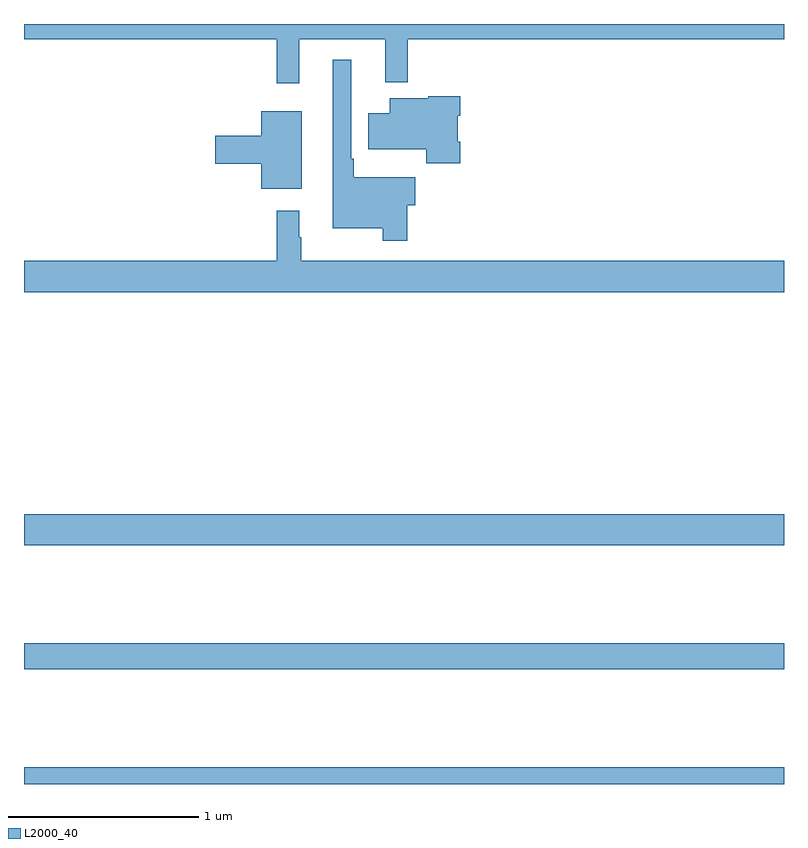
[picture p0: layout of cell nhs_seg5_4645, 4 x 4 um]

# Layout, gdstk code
import gdstk
lib = gdstk.Library(unit=1e-6, precision=1e-09)
def R(c, l, rs):  # rectangles x0, y0, x1, y1
    for r in rs: c.add(gdstk.rectangle(r[:2], r[2:], *l))
def P(c, l, *ps):  # polygons
    for p in ps: c.add(gdstk.Polygon(p, *l))
L2000_40 = (2000, 40)

nhs_seg5_4645 = lib.new_cell('nhs_seg5_4645')
R(nhs_seg5_4645, L2000_40, [(383,892.799,387,892.888), (383,893.404,387,893.54), (383,894.056,387,894.22)])
P(nhs_seg5_4645, L2000_40, [(384.449,896.72),(384.902,896.72),(384.902,896.492),(385.019,896.492),(385.019,896.72),(387,896.72),(387,896.799),(383,896.799),(383,896.72),(384.331,896.72),(384.331,896.487),(384.449,896.487)],
  [(385.016,895.846),(385.06,895.846),(385.06,895.993),(384.736,895.993),(384.736,896.089),(384.723,896.089),(384.723,896.611),(384.626,896.611),(384.626,895.724),(384.888,895.724),(384.888,895.659),(385.016,895.659)],
  [(385.295,896.179),(385.282,896.179),(385.282,896.315),(385.295,896.315),(385.295,896.419),(385.128,896.419),(385.128,896.407),(384.926,896.407),(384.926,896.329),(384.812,896.329),(384.812,896.141),(385.117,896.141),(385.117,896.067),(385.295,896.067)],
  [(384.463,896.341),(384.248,896.341),(384.248,896.21),(384.006,896.21),(384.006,896.063),(384.248,896.063),(384.248,895.931),(384.463,895.931)],
  [(387,895.552),(384.46,895.552),(384.46,895.676),(384.448,895.676),(384.448,895.816),(384.331,895.816),(384.331,895.552),(383,895.552),(383,895.388),(387,895.388)])

lib.write_gds('nhs_seg5_4645.gds')
